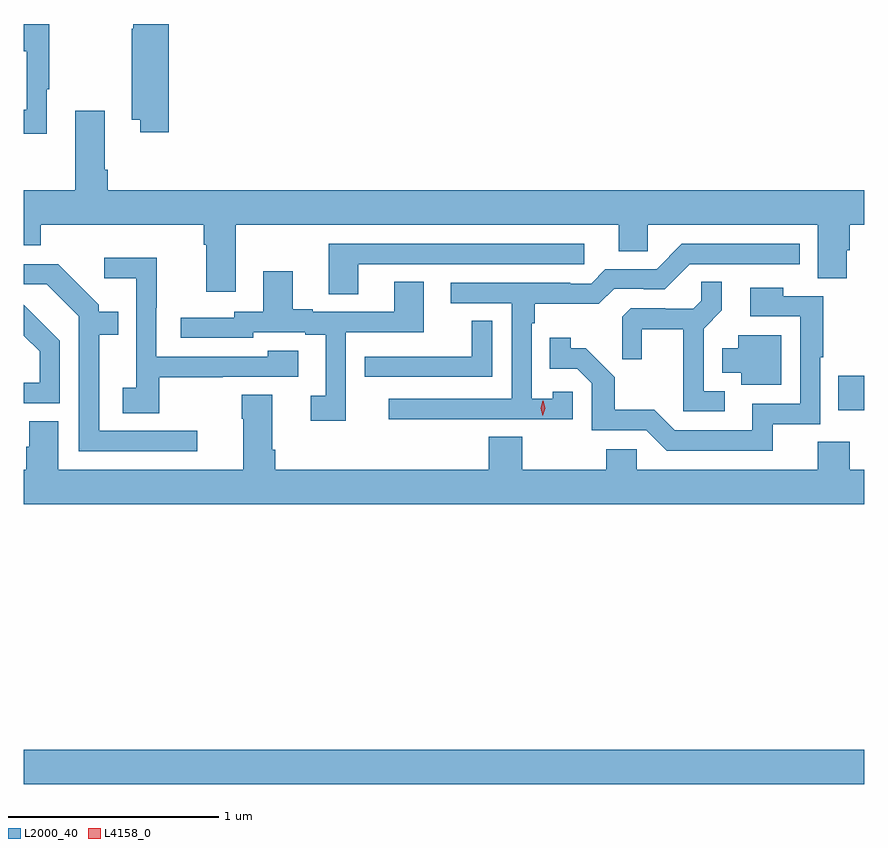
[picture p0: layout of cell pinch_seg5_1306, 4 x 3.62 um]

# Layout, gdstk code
import gdstk
lib = gdstk.Library(unit=1e-6, precision=1e-09)
def R(c, l, rs):  # rectangles x0, y0, x1, y1
    for r in rs: c.add(gdstk.rectangle(r[:2], r[2:], *l))
def P(c, l, *ps):  # polygons
    for p in ps: c.add(gdstk.Polygon(p, *l))
L2000_40 = (2000, 40)
L4158_0 = (4158, 0)

pinch_seg5_1306 = lib.new_cell('pinch_seg5_1306')
R(pinch_seg5_1306, L2000_40, [(337.08,906.044,341.08,906.208), (340.957,907.823,341.08,907.989)])
P(pinch_seg5_1306, L2000_40, [(337.769,909.663),(337.601,909.663),(337.601,909.641),(337.594,909.641),(337.594,909.206),(337.634,909.206),(337.634,909.147),(337.769,909.147)],
  [(337.189,909.353),(337.201,909.353),(337.201,909.663),(337.08,909.663),(337.08,909.533),(337.092,909.533),(337.092,909.254),(337.08,909.254),(337.08,909.141),(337.189,909.141)],
  [(338.089,908.708),(339.911,908.708),(339.911,908.581),(340.05,908.581),(340.05,908.708),(340.859,908.708),(340.859,908.452),(340.999,908.452),(340.999,908.586),(341.012,908.586),(341.012,908.708),(341.08,908.708),(341.08,908.872),(337.478,908.872),(337.478,908.968),(337.465,908.968),(337.465,909.25),(337.325,909.25),(337.325,908.872),(337.08,908.872),(337.08,908.609),(337.16,908.609),(337.16,908.708),(337.937,908.708),(337.937,908.612),(337.949,908.612),(337.949,908.388),(338.089,908.388)],
  [(338.671,908.52),(339.748,908.52),(339.748,908.616),(338.531,908.616),(338.531,908.377),(338.671,908.377)],
  [(339.209,907.782),(339.693,907.782),(339.693,907.911),(339.597,907.911),(339.597,907.879),(339.498,907.879),(339.498,908.237),(339.511,908.237),(339.511,908.33),(339.818,908.33),(339.891,908.403),(340.03,908.403),(340.03,908.4),(340.131,908.4),(340.251,908.52),(340.774,908.52),(340.774,908.616),(340.212,908.616),(340.092,908.496),(339.849,908.496),(339.78,908.427),(339.68,908.427),(339.68,908.43),(339.111,908.43),(339.111,908.334),(339.402,908.334),(339.402,907.878),(338.817,907.878),(338.817,907.78),(339.209,907.78)],
  [(337.723,907.981),(338.027,907.981),(338.027,907.983),(338.386,907.983),(338.386,908.107),(338.241,908.107),(338.241,908.079),(337.71,908.079),(337.71,908.312),(337.713,908.312),(337.713,908.551),(337.461,908.551),(337.461,908.453),(337.614,908.453),(337.614,907.932),(337.551,907.932),(337.551,907.81),(337.723,907.81)],
  [(337.906,907.725),(337.438,907.725),(337.438,908.184),(337.529,908.184),(337.529,908.293),(337.437,908.293),(337.437,908.325),(337.242,908.52),(337.08,908.52),(337.08,908.424),(337.188,908.424),(337.341,908.271),(337.341,907.629),(337.906,907.629)],
  [(338.613,908.196),(338.983,908.196),(338.983,908.435),(338.843,908.435),(338.843,908.292),(338.455,908.292),(338.455,908.305),(338.359,908.305),(338.359,908.485),(338.219,908.485),(338.219,908.292),(338.082,908.292),(338.082,908.265),(337.827,908.265),(337.827,908.169),(338.172,908.169),(338.172,908.196),(338.42,908.196),(338.42,908.184),(338.516,908.184),(338.516,907.893),(338.445,907.893),(338.445,907.773),(338.613,907.773)],
  [(340.417,907.914),(340.317,907.914),(340.317,908.213),(340.403,908.299),(340.403,908.435),(340.305,908.435),(340.305,908.344),(340.268,908.307),(340.134,908.307),(340.134,908.31),(339.969,908.31),(339.928,908.269),(339.928,908.067),(340.022,908.067),(340.022,908.21),(340.22,908.21),(340.22,907.818),(340.417,907.818)],
  [(340.646,907.758),(340.872,907.758),(340.872,908.077),(340.885,908.077),(340.885,908.367),(340.695,908.367),(340.695,908.407),(340.539,908.407),(340.539,908.271),(340.776,908.271),(340.776,907.854),(340.547,907.854),(340.547,907.728),(340.179,907.728),(340.081,907.827),(339.892,907.827),(339.892,907.982),(339.754,908.12),(339.684,908.12),(339.684,908.17),(339.583,908.17),(339.583,908.022),(339.714,908.022),(339.783,907.953),(339.783,907.728),(340.044,907.728),(340.14,907.632),(340.646,907.632)],
  [(337.251,908.155),(337.08,908.326),(337.08,908.178),(337.154,908.104),(337.154,907.954),(337.08,907.954),(337.08,907.857),(337.251,907.857)],
  [(339.309,908.249),(339.211,908.249),(339.211,908.079),(338.815,908.079),(338.815,908.078),(338.703,908.078),(338.703,907.983),(339.309,907.983)],
  [(340.687,908.182),(340.481,908.182),(340.481,908.119),(340.406,908.119),(340.406,908.003),(340.496,908.003),(340.496,907.946),(340.687,907.946)],
  [(341.08,907.54),(341.012,907.54),(341.012,907.673),(340.859,907.673),(340.859,907.54),(339.999,907.54),(339.999,907.638),(339.853,907.638),(339.853,907.54),(339.453,907.54),(339.453,907.697),(339.293,907.697),(339.293,907.54),(338.276,907.54),(338.276,907.636),(338.263,907.636),(338.263,907.897),(338.116,907.897),(338.116,907.784),(338.123,907.784),(338.123,907.54),(337.243,907.54),(337.243,907.772),(337.105,907.772),(337.105,907.65),(337.091,907.65),(337.091,907.54),(337.08,907.54),(337.08,907.376),(341.08,907.376)])
P(pinch_seg5_1306, L4158_0, [(339.55,907.797),(339.541,907.833),(339.551,907.869),(339.552,907.869),(339.552,907.869),(339.561,907.833),(339.551,907.797),(339.551,907.797)])

lib.write_gds('pinch_seg5_1306.gds')
